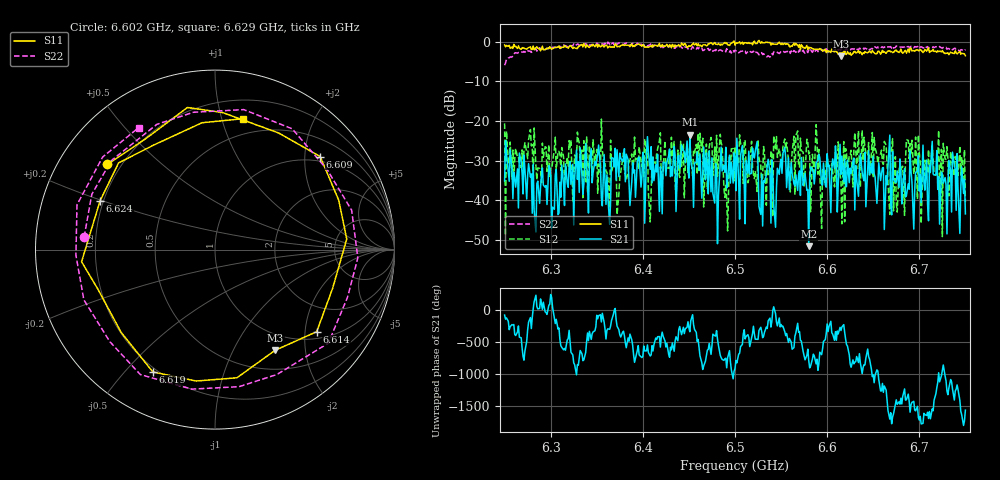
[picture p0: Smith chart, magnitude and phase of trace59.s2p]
# Hz S RI R 50
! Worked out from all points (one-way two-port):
!   401 points, 6.25 GHz to 6.75 GHz, reference 50 ohm
!   highest |S21| = -23.48 dB at 6.451 GHz (marker M1); lowest = -51.5 dB at 6.58 GHz (marker M2)
!   lowest |S11| = -3.7 dB at 6.615 GHz (marker M3), VSWR 4.77, Z = 37.9 - j74.1 ohm
!   |S11| at or under -10 dB: nowhere
!   |S22| runs from -5.9 to -0.1 dB; largest |S21 - S12| = 0.11
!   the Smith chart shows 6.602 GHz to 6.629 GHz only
!   S11 on the Smith chart (normalised r, x): 6.602 GHz: 0.15, +0.34; 6.609 GHz: 0.88, +2.35; 6.614 GHz: 1.18, -2.30; 6.619 GHz: 0.18, -0.60; 6.624 GHz: 0.19, +0.20; 6.629 GHz: 0.36, +1.17
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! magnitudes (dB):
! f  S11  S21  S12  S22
! 6.25 GHz  -0.8  -35.1  -20.6  -5.9
! 6.285 GHz  -1.3  -35.8  -34.8  -2.4
! 6.334 GHz  -0.7  -34.0  -27.3  -1.1
! 6.362 GHz  -1.6  -38.9  -34.0  -0.1
! 6.409 GHz  -1.0  -26.5  -38.1  -0.3
! 6.418 GHz  -0.4  -42.8  -25.0  -1.0
! 6.451 GHz  -1.1  -23.5  -25.3  -1.9
! 6.482 GHz  -0.5  -38.9  -30.4  -2.3
! 6.49 GHz  -0.5  -26.6  -35.9  -2.6
! 6.5 GHz  -0.9  -29.5  -26.4  -2.2
! 6.58 GHz  -1.3  -51.5  -28.3  -2.1
! 6.584 GHz  -1.8  -32.0  -28.4  -2.7
! 6.602 GHz  -2.3  -31.1  -31.4  -2.7
! 6.609 GHz  -2.1  -26.3  -27.9  -2.0
! 6.614 GHz  -2.8  -25.9  -33.6  -2.0
! 6.615 GHz  -3.7  -33.4  -34.9  -2.1
! 6.619 GHz  -2.3  -29.5  -45.4  -2.2
! 6.624 GHz  -3.2  -35.5  -28.5  -2.1
! 6.629 GHz  -2.6  -29.3  -27.2  -1.9
! 6.668 GHz  -2.3  -23.5  -43.5  -1.3
! 6.716 GHz  -2.5  -33.6  -33.1  -1.5
! 6.75 GHz  -3.6  -43.4  -40.4  -2.0
